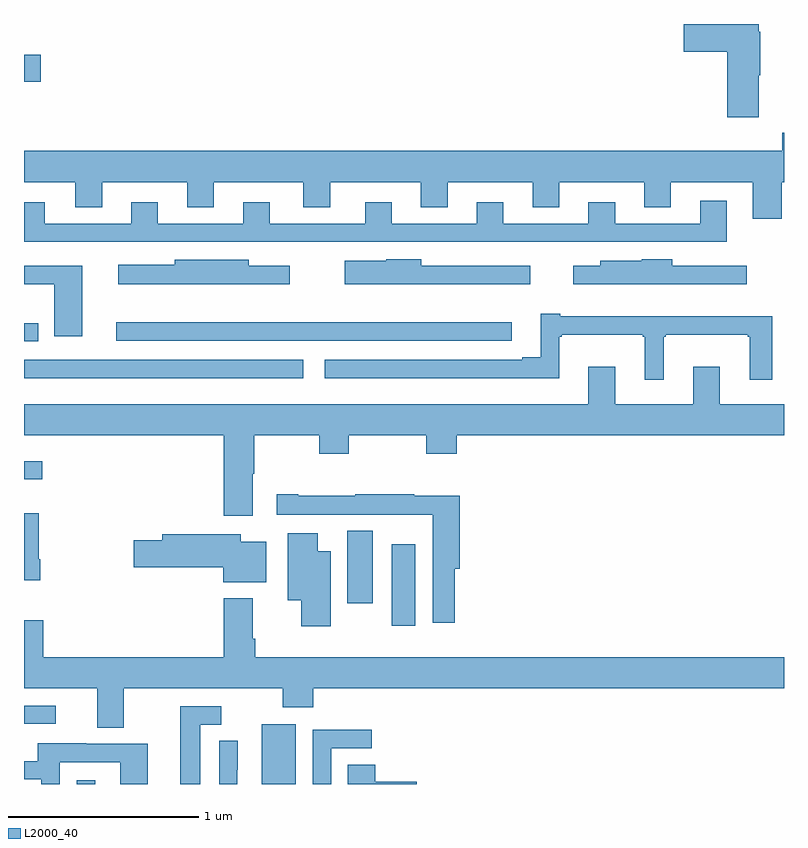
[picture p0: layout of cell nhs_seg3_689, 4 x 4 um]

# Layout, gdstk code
import gdstk
lib = gdstk.Library(unit=1e-6, precision=1e-09)
def R(c, l, rs):  # rectangles x0, y0, x1, y1
    for r in rs: c.add(gdstk.rectangle(r[:2], r[2:], *l))
def P(c, l, *ps):  # polygons
    for p in ps: c.add(gdstk.Polygon(p, *l))
L2000_40 = (2000, 40)

nhs_seg3_689 = lib.new_cell('nhs_seg3_689')
R(nhs_seg3_689, L2000_40, [(145.278,712.4,145.375,712.42), (146.252,712.4,146.431,712.714), (145,712.716,145.168,712.812), (146.936,713.232,147.058,713.662), (146.702,713.352,146.836,713.732), (145,714.003,145.096,714.1), (145,714.536,146.47,714.633), (145,714.729,145.075,714.825), (145.485,714.732,147.568,714.83), (145,716.095,145.087,716.237)])
P(nhs_seg3_689, L2000_40, [(148.867,716.131),(148.875,716.131),(148.875,716.359),(148.867,716.359),(148.867,716.4),(148.472,716.4),(148.472,716.255),(148.7,716.255),(148.7,715.908),(148.867,715.908)],
  [(148.988,715.568),(149,715.568),(149,715.828),(148.991,715.828),(148.991,715.732),(145,715.732),(145,715.568),(145.271,715.568),(145.271,715.435),(145.411,715.435),(145.411,715.568),(145.859,715.568),(145.859,715.435),(145.999,715.435),(145.999,715.568),(146.471,715.568),(146.471,715.435),(146.611,715.435),(146.611,715.568),(147.089,715.568),(147.089,715.435),(147.229,715.435),(147.229,715.568),(147.677,715.568),(147.677,715.435),(147.817,715.435),(147.817,715.568),(148.265,715.568),(148.265,715.435),(148.405,715.435),(148.405,715.568),(148.835,715.568),(148.835,715.374),(148.988,715.374)],
  [(148.699,715.471),(148.559,715.471),(148.559,715.35),(148.111,715.35),(148.111,715.462),(147.971,715.462),(147.971,715.35),(147.523,715.35),(147.523,715.462),(147.383,715.462),(147.383,715.35),(146.935,715.35),(146.935,715.462),(146.795,715.462),(146.795,715.35),(146.293,715.35),(146.293,715.462),(146.153,715.462),(146.153,715.35),(145.705,715.35),(145.705,715.462),(145.565,715.462),(145.565,715.35),(145.108,715.35),(145.108,715.462),(145,715.462),(145,715.254),(148.699,715.254)],
  [(147.664,715.128),(147.091,715.128),(147.091,715.162),(146.907,715.162),(146.907,715.153),(146.688,715.153),(146.688,715.031),(147.664,715.031)],
  [(148.804,715.128),(148.411,715.128),(148.411,715.162),(148.251,715.162),(148.251,715.153),(148.032,715.153),(148.032,715.128),(147.891,715.128),(147.891,715.031),(148.804,715.031)],
  [(146.398,715.128),(146.184,715.128),(146.184,715.159),(145.794,715.159),(145.794,715.132),(145.497,715.132),(145.497,715.031),(146.398,715.031)],
  [(145.306,715.128),(145,715.128),(145,715.031),(145.16,715.031),(145.16,714.756),(145.306,714.756)],
  [(148.366,714.753),(148.378,714.753),(148.378,714.764),(148.809,714.764),(148.809,714.753),(148.82,714.753),(148.82,714.528),(148.937,714.528),(148.937,714.862),(147.823,714.862),(147.823,714.874),(147.719,714.874),(147.719,714.646),(147.623,714.646),(147.623,714.633),(146.583,714.633),(146.583,714.536),(147.817,714.536),(147.817,714.753),(147.829,714.753),(147.829,714.764),(148.257,714.764),(148.257,714.753),(148.268,714.753),(148.268,714.528),(148.366,714.528)],
  [(146.203,714.032),(146.211,714.032),(146.211,714.236),(146.554,714.236),(146.554,714.137),(146.709,714.137),(146.709,714.236),(147.118,714.236),(147.118,714.137),(147.278,714.137),(147.278,714.236),(149,714.236),(149,714.4),(148.663,714.4),(148.663,714.595),(148.523,714.595),(148.523,714.4),(148.111,714.4),(148.111,714.595),(147.971,714.595),(147.971,714.4),(145,714.4),(145,714.236),(146.051,714.236),(146.051,713.811),(146.203,713.811)],
  [(147.266,713.534),(147.293,713.534),(147.293,713.916),(147.053,713.916),(147.053,713.926),(146.743,713.926),(146.743,713.916),(146.443,713.916),(146.443,713.926),(146.331,713.926),(146.331,713.817),(146.94,713.817),(146.94,713.816),(147.15,713.816),(147.15,713.25),(147.266,713.25)],
  [(145.086,713.584),(145.078,713.584),(145.078,713.824),(145,713.824),(145,713.472),(145.086,713.472)],
  [(146.614,713.626),(146.545,713.626),(146.545,713.719),(146.387,713.719),(146.387,713.366),(146.459,713.366),(146.459,713.229),(146.614,713.229)],
  [(146.275,713.674),(146.142,713.674),(146.142,713.714),(145.727,713.714),(145.727,713.684),(145.578,713.684),(145.578,713.542),(146.048,713.542),(146.048,713.462),(146.275,713.462)],
  [(145.525,712.904),(146.362,712.904),(146.362,712.805),(146.522,712.805),(146.522,712.904),(149,712.904),(149,713.068),(146.216,713.068),(146.216,713.164),(146.203,713.164),(146.203,713.377),(146.051,713.377),(146.051,713.068),(145.1,713.068),(145.1,713.263),(145,713.263),(145,712.904),(145.385,712.904),(145.385,712.696),(145.525,712.696)],
  [(145.927,712.713),(146.038,712.713),(146.038,712.809),(145.823,712.809),(145.823,712.4),(145.927,712.4)],
  [(146.616,712.587),(146.83,712.587),(146.83,712.686),(146.52,712.686),(146.52,712.4),(146.616,712.4)],
  [(146.123,712.474),(146.124,712.474),(146.124,712.628),(146.028,712.628),(146.028,712.4),(146.123,712.4)],
  [(145.188,712.515),(145.506,712.515),(145.506,712.4),(145.651,712.4),(145.651,712.611),(145.327,712.611),(145.327,712.615),(145.073,712.615),(145.073,712.521),(145,712.521),(145,712.425),(145.092,712.425),(145.092,712.4),(145.188,712.4)],
  [(147.067,712.412),(146.849,712.412),(146.849,712.502),(146.705,712.502),(146.705,712.4),(147.067,712.4)])

lib.write_gds('nhs_seg3_689.gds')
